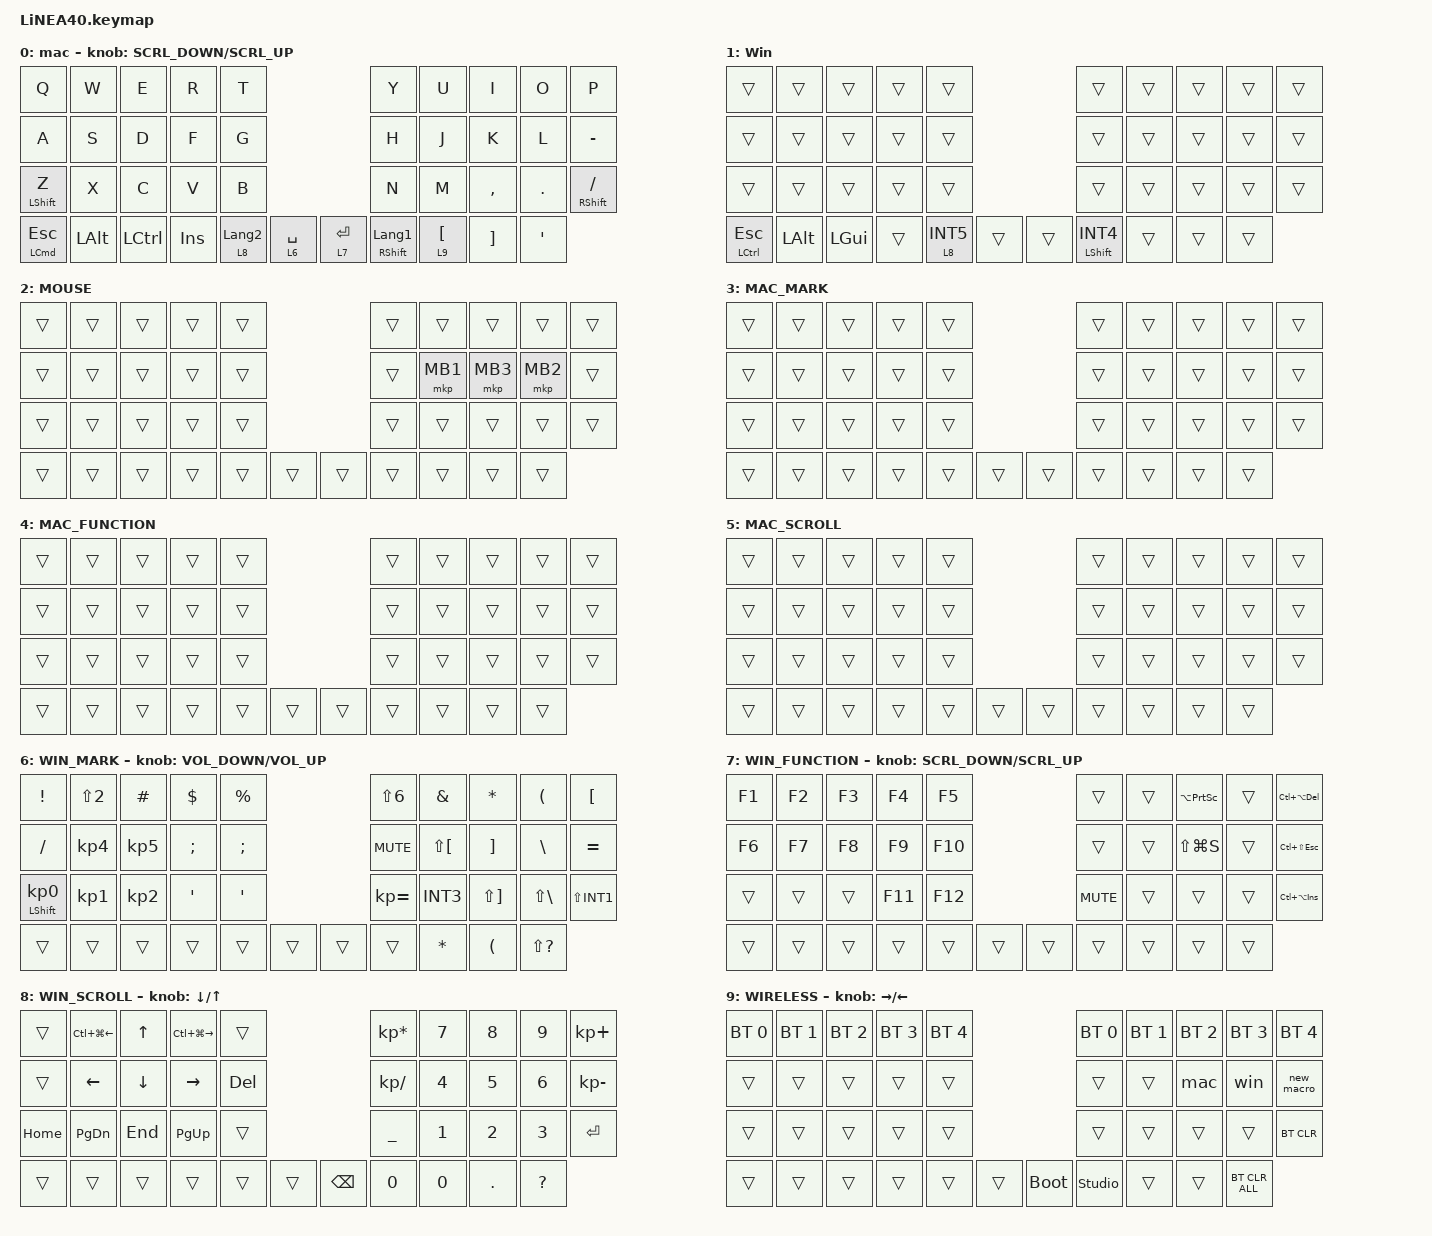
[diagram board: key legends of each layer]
#define ZMK_POINTING_DEFAULT_SCRL_VAL 150

#include <dt-bindings/zmk/input_transform.h>
#include <input/processors.dtsi>
#include <zephyr/dt-bindings/input/input-event-codes.h>
#include <behaviors.dtsi>
#include <dt-bindings/zmk/bt.h>
#include <dt-bindings/zmk/keys.h>
#include <dt-bindings/zmk/pointing.h>

#define Win 1
#define MOUSE 2
#define MAC_MARK 3
#define MAC_FUNCTION 4
#define MAC_SCROLL 5
#define WIN_MARK 6
#define WIN_FUNCTION 7
#define WIN_SCROLL 8
#define WIRELESS 9


//mouse cursol

&mmv {
    delay-ms = <20>;
    trigger-period-ms = <5>;
    time-to-max-speed-ms = <100>;
    acceleration-exponent = <2>;
};

//mouse scroll

&msc {
    delay-ms = <3>;
    trigger-period-ms = <3>;
    time-to-max-speed-ms = <100>;
    acceleration-exponent = <0>;
};

/ {
    input_processors {
        zip_wheel_scaler: zip_wheel_scaler {
            compatible = "zmk,input-processor-scaler";
            #input-processor-cells = <2>;
            type = <INPUT_EV_REL>;
            codes = <INPUT_REL_WHEEL>;
            track-remainders;
        };
    };
};

&msc_input_listener {
    speed_up {
        layers = <MAC_FUNCTION WIN_FUNCTION>;
        input-processors = <&zip_wheel_scaler 3 1>; //スクロールを3倍速にする
    };
};

&trackball_listener {
    scroller {
        layers = <MAC_SCROLL WIN_SCROLL>;
        input-processors =
            <&zip_xy_transform INPUT_TRANSFORM_Y_INVERT>,
            //スクロール方向を逆転,,,,,,,,,,,,,,,,,
            <&zip_xy_to_scroll_mapper>;
    };
};

/ {
    combos {
        compatible = "zmk,combos";

        DeleteKey {
            bindings = <&kp DELETE>;
            key-positions = <7 8>;
        };

        InsertKey {
            bindings = <&kp INS>;
            key-positions = <6 7>;
        };

        CenterClick {
            bindings = <&mkp MB3>;
            key-positions = <17 16>;
        };

        RightClick {
            bindings = <&mkp MB2>;
            key-positions = <18 17>;
        };

        PrevClick {
            bindings = <&mkp MB4>;
            key-positions = <27 28>;
        };

        ClickNext {
            bindings = <&mkp MB5>;
            key-positions = <26 27>;
        };

        tab {
            bindings = <&kp TAB>;
            key-positions = <13 14>;
        };
    };

    behaviors {
        re_kp: sensor_rotate_kp {
            compatible = "zmk,behavior-sensor-rotate-var";
            #sensor-binding-cells = <2>;
            bindings = <&kp>, <&kp>;
        };

        mouse_scrl: mouse_wheel_scrl {
            compatible = "zmk,behavior-sensor-rotate-var";
            #sensor-binding-cells = <2>;
            bindings = <&msc>, <&msc>;

            tap-ms = <20>;
        };
    };

    macros {
        mac: mac {
            compatible = "zmk,behavior-macro";
            #binding-cells = <0>;
            bindings = <&bt BT_SEL 0>, <&macro_wait_time 200>, <&to 0>;

            label = "MAC";
        };

        win: win {
            compatible = "zmk,behavior-macro";
            #binding-cells = <0>;
            bindings = <&bt BT_SEL 2>, <&macro_wait_time 200>, <&to 1>;

            label = "WIN";
        };

        new_macro: new_macro {
            compatible = "zmk,behavior-macro";
            #binding-cells = <0>;
            bindings = <&bt BT_SEL 3>, <&macro_wait_time 200>, <&to 1>;

            label = "NEW_MACRO";
        };
    };

    keymap {
        compatible = "zmk,keymap";

        mac {
            bindings = <
&kp Q                 &kp W         &kp E             &kp R    &kp T                                         &kp Y                 &kp U  &kp I       &kp O     &kp P
&kp A                 &kp S         &kp D             &kp F    &kp G                                         &kp H                 &kp J  &kp K       &kp L     &kp MINUS
&mt LEFT_SHIFT Z      &kp X         &kp C             &kp V    &kp B                                         &kp N                 &kp M  &kp COMMA   &kp DOT   &mt RSHFT SLASH
&mt LEFT_COMMAND ESC  &kp LEFT_ALT  &kp LEFT_CONTROL  &kp INS  &lt 8 LANGUAGE_2  &lt 6 SPACE    &lt 7 ENTER  &mt RSHFT LANGUAGE_1         &lt 9 LBKT  &kp RBKT  &kp SINGLE_QUOTE
            >;

            sensor-bindings = <&mouse_scrl SCRL_DOWN SCRL_UP>;
        };

        Win {
            bindings = <
&trans                   &trans        &trans        &trans  &trans                        &trans           &trans  &trans  &trans  &trans
&trans                   &trans        &trans        &trans  &trans                        &trans           &trans  &trans  &trans  &trans
&trans                   &trans        &trans        &trans  &trans                        &trans           &trans  &trans  &trans  &trans
&mt LEFT_CONTROL ESCAPE  &kp LEFT_ALT  &kp LEFT_GUI  &trans  &lt 8 INT5  &trans    &trans  &mt LSHIFT INT4          &trans  &trans  &trans
            >;
        };

        MOUSE {
            bindings = <
&trans  &trans  &trans  &trans  &trans                    &trans  &trans    &trans    &trans    &trans
&trans  &trans  &trans  &trans  &trans                    &trans  &mkp MB1  &mkp MB3  &mkp MB2  &trans
&trans  &trans  &trans  &trans  &trans                    &trans  &trans    &trans    &trans    &trans
&trans  &trans  &trans  &trans  &trans  &trans    &trans  &trans            &trans    &trans    &trans
            >;
        };

        MAC_MARK {
            bindings = <
&trans  &trans  &trans  &trans  &trans                    &trans  &trans  &trans  &trans  &trans
&trans  &trans  &trans  &trans  &trans                    &trans  &trans  &trans  &trans  &trans
&trans  &trans  &trans  &trans  &trans                    &trans  &trans  &trans  &trans  &trans
&trans  &trans  &trans  &trans  &trans  &trans    &trans  &trans          &trans  &trans  &trans
            >;
        };

        MAC_FUNCTION {
            bindings = <
&trans  &trans  &trans  &trans  &trans                    &trans  &trans  &trans  &trans  &trans
&trans  &trans  &trans  &trans  &trans                    &trans  &trans  &trans  &trans  &trans
&trans  &trans  &trans  &trans  &trans                    &trans  &trans  &trans  &trans  &trans
&trans  &trans  &trans  &trans  &trans  &trans    &trans  &trans          &trans  &trans  &trans
            >;
        };

        MAC_SCROLL {
            bindings = <
&trans  &trans  &trans  &trans  &trans                    &trans  &trans  &trans  &trans  &trans
&trans  &trans  &trans  &trans  &trans                    &trans  &trans  &trans  &trans  &trans
&trans  &trans  &trans  &trans  &trans                    &trans  &trans  &trans  &trans  &trans
&trans  &trans  &trans  &trans  &trans  &trans    &trans  &trans          &trans  &trans  &trans
            >;
        };

        WIN_MARK {
            bindings = <
&kp EXCLAMATION             &kp LS(N2)       &kp HASH         &kp DOLLAR     &kp PERCENT                      &kp LS(NUMBER_6)  &kp AMPERSAND  &kp ASTERISK           &kp LEFT_PARENTHESIS  &kp LBKT
&kp SLASH                   &kp KP_NUMBER_4  &kp KP_NUMBER_5  &kp SEMICOLON  &kp SEMICOLON                    &kp C_MUTE        &kp LS(LBKT)   &kp RIGHT_BRACKET      &kp BACKSLASH         &kp EQUAL
&mt LEFT_SHIFT KP_NUMBER_0  &kp KP_NUMBER_1  &kp KP_NUMBER_2  &kp APOS       &kp SQT                          &kp KP_EQUAL      &kp INT3       &kp LS(RIGHT_BRACKET)  &kp LS(BACKSLASH)     &kp LS(INT1)
&trans                      &trans           &trans           &trans         &trans         &trans    &trans  &trans                           &kp ASTERISK           &kp LEFT_PARENTHESIS  &kp LS(QUESTION)
            >;

            sensor-bindings = <&re_kp C_VOLUME_DOWN C_VOLUME_UP>;
        };

        WIN_FUNCTION {
            bindings = <
&kp F1  &kp F2  &kp F3  &kp F4   &kp F5                     &trans      &trans  &kp LA(PRINTSCREEN)  &trans  &kp LC(LA(DELETE))
&kp F6  &kp F7  &kp F8  &kp F9   &kp F10                    &trans      &trans  &kp LS(LG(S))        &trans  &kp LC(LS(ESCAPE))
&trans  &trans  &trans  &kp F11  &kp F12                    &kp C_MUTE  &trans  &trans               &trans  &kp LC(LA(INS))
&trans  &trans  &trans  &trans   &trans   &trans    &trans  &trans              &trans               &trans  &trans
            >;

            sensor-bindings = <&mouse_scrl SCRL_DOWN SCRL_UP>;
        };

        WIN_SCROLL {
            bindings = <
&trans    &kp LC(LG(LEFT_ARROW))  &kp UP_ARROW  &kp LC(LG(RIGHT_ARROW))  &trans                            &kp KP_MULTIPLY  &kp NUMBER_7  &kp NUMBER_8  &kp NUMBER_9  &kp KP_PLUS
&trans    &kp LEFT_ARROW          &kp DOWN      &kp RIGHT_ARROW          &kp DEL                           &kp KP_SLASH     &kp NUMBER_4  &kp NUMBER_5  &kp NUMBER_6  &kp KP_MINUS
&kp HOME  &kp PAGE_DOWN           &kp END       &kp PAGE_UP              &trans                            &kp UNDER        &kp NUMBER_1  &kp NUMBER_2  &kp NUMBER_3  &kp ENTER
&trans    &trans                  &trans        &trans                   &trans   &trans    &kp BACKSPACE  &kp N0                         &kp NUMBER_0  &kp DOT       &kp QUESTION
            >;

            sensor-bindings = <&inc_dec_kp DOWN_ARROW UP_ARROW>;
        };

        WIRELESS {
            bindings = <
&bt BT_SEL 0  &bt BT_SEL 1  &bt BT_SEL 2  &bt BT_SEL 3  &bt BT_SEL 4                         &bt BT_SEL 0    &bt BT_SEL 1  &bt BT_SEL 2  &bt BT_SEL 3  &bt BT_SEL 4
&trans        &trans        &trans        &trans        &trans                               &trans          &trans        &mac          &win          &new_macro
&trans        &trans        &trans        &trans        &trans                               &trans          &trans        &trans        &trans        &bt BT_CLR
&trans        &trans        &trans        &trans        &trans        &trans    &bootloader  &studio_unlock                &trans        &trans        &bt BT_CLR_ALL
            >;

            sensor-bindings = <&inc_dec_kp RIGHT_ARROW LEFT_ARROW>;
        };
    };
};
